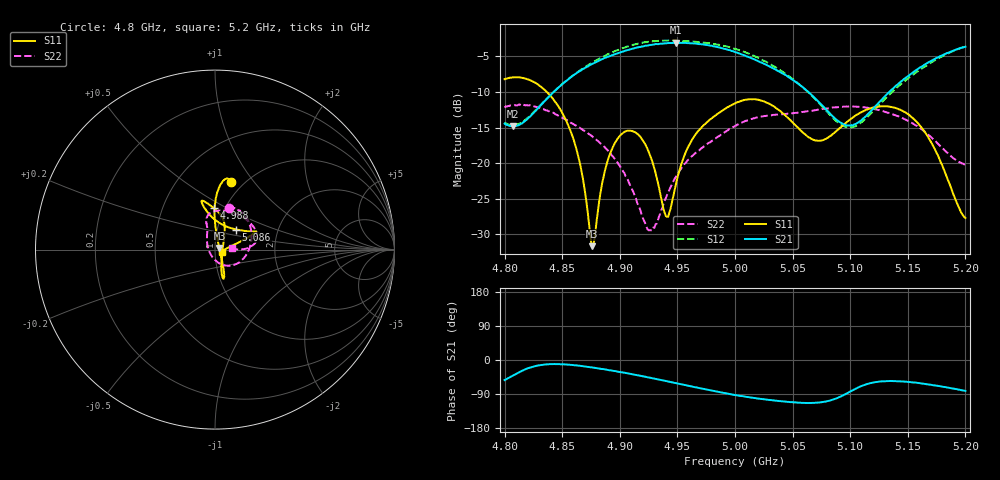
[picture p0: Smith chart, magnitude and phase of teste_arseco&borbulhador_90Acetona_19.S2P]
! Network Analyzer HP8722D
! Hewlett-Packard
! Data name: Linha & Wilkinson
! Saver's name: Rodrigo Anjos
! Comments: Teste da utilização de aquisição
! continua pelo VNA HP8722D
! Time and date: 17/4/2025 11:12
!  Frequency  S11  S21  S12  S22
# HZ  S  MA R 50
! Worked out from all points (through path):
!   401 points, 4.8 GHz to 5.2 GHz, reference 50 ohm
!   highest |S21| = -3.06 dB at 4.949 GHz (marker M1); lowest = -14.8 dB at 4.807 GHz (marker M2)
!   lowest |S11| = -31.7 dB at 4.876 GHz (marker M3), VSWR 1.05, Z = 52.5 + j0.954 ohm
!   |S11| at or under -10 dB: 4.837 GHz to end of sweep
!   |S22| runs from -29.5 to -11.7 dB; largest |S21 - S12| = 1.4
!   S11 on the Smith chart (normalised r, x): 4.8 GHz: 0.87, +0.78; 4.988 GHz: 0.89, +0.43; 5.086 GHz: 1.23, +0.28; 5.2 GHz: 1.08, -0.03
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4.8e9  0.3896 76.8  0.1893 -52.9  0.193 82.2  0.2458 71.9
4.807e9  0.401 78.9  0.1813 -41.5  0.1843 92.4  0.2545 66.0
4.844e9  0.2694 89.5  0.3241 -10.7  0.3245 122.7  0.2204 22.7
4.858e9  0.162 90.1  0.4049 -13.0  0.4052 122.5  0.1913 1.7
4.867e9  0.08553 84.1  0.4525 -16.0  0.4569 121.0  0.1734 -12.2
4.876e9  0.02601 20.4  0.4982 -19.6  0.5095 119.0  0.1544 -26.7
4.889e9  0.1009 -63.3  0.5579 -25.7  0.58 114.5  0.1243 -46.1
4.902e9  0.1609 -71.5  0.608 -32.5  0.6428 108.9  0.08946 -66.3
4.924e9  0.1259 -73.4  0.671 -45.6  0.712 96.7  0.03421 -137.2
4.934e9  0.06757 -57.7  0.689 -51.8  0.7269 90.2  0.04198 160.8
4.941e9  0.04188 -6.5  0.6979 -56.2  0.7283 85.8  0.05962 138.3
4.949e9  0.07274 47.2  0.7028 -61.0  0.7283 80.9  0.0806 124.3
4.963e9  0.1474 68.7  0.6956 -70.3  0.7159 72.1  0.1123 112.1
4.988e9  0.2314 91.5  0.6446 -85.7  0.6738 55.8  0.1596 107.8
5e9  0.263 99.9  0.6048 -92.4  0.6375 48.4  0.1826 104.8
5.029e9  0.2633 105.5  0.4824 -105.1  0.506 33.3  0.216 88.1
5.067e9  0.1472 76.2  0.2993 -113.2  0.2966 27.5  0.2337 54.4
5.086e9  0.1625 43.4  0.2092 -103.5  0.2045 39.4  0.2464 36.3
5.104e9  0.2144 28.5  0.1879 -76.9  0.1808 67.7  0.2494 22.6
5.134e9  0.2496 23.2  0.3168 -55.4  0.3032 90.9  0.2248 8.8
5.165e9  0.1643 18.7  0.494 -63.2  0.4778 84.9  0.1657 1.2
5.2e9  0.04109 -17.3  0.6588 -81.7  0.6606 67.6  0.09715 5.5
